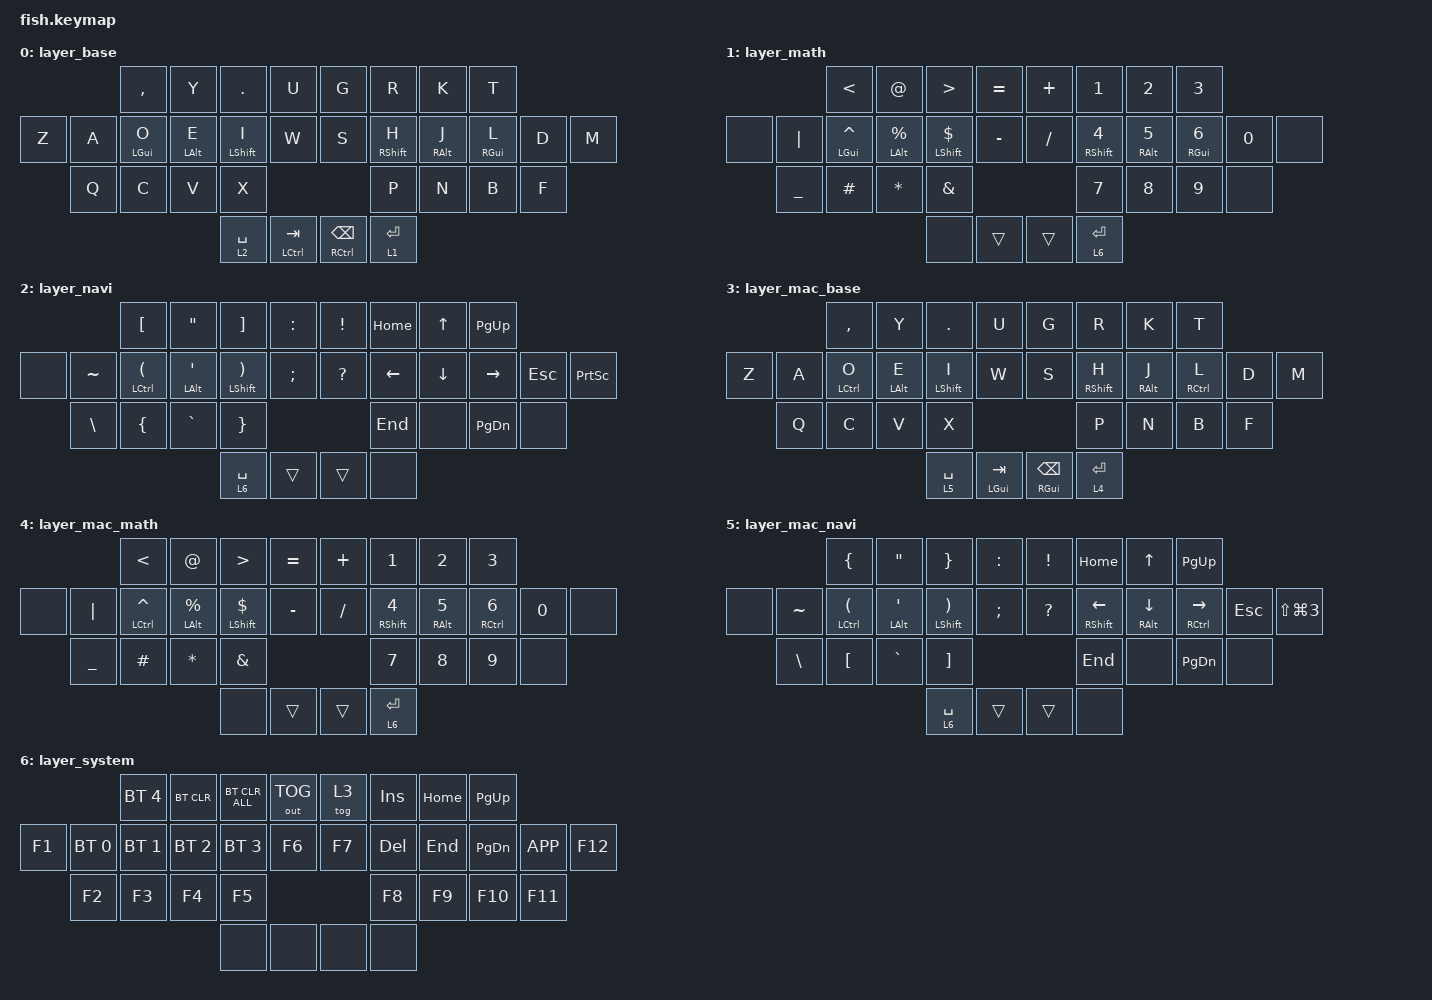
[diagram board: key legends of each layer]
// キーマップを更新する方法は https://o24.works/fish/guide を参照
// 視覚的に編集するには https://o24.works/fish/editor を参照


// 定義を呼んでくる
#include <behaviors.dtsi>
#include <dt-bindings/zmk/keys.h>
#include <dt-bindings/zmk/mouse.h>
#include <dt-bindings/zmk/bt.h>
#include <dt-bindings/zmk/outputs.h>


// 特殊入力の挙動を調整できる

&mt {
    flavor = "tap-preferred";
    tapping-term-ms = <225>;
    quick-tap-ms = <200>;
    require-prior-idle-ms = <150>;
};

&lt {
    flavor = "balanced";
    tapping-term-ms = <175>;
    quick-tap-ms = <200>;
};

&sk {
};

&sl {
};

&caps_word {
};

&key_repeat {
};


/ {
    // 独自の入力を定義できる（上級者向け）

    behaviors {
    };

    macros {
    };

    conditional_layers {
    };


    // 複数キーの同時押しに特別の入力を設定できる
    // キー番号早見表：
    //       0  1  2  3     4  5  6  7
    // 8  9 10 11 12 13    14 15 16 17 18 19
    //   20 21 22 23          24 25 26 27
    //            28 29    30 31

    combos {
        compatible = "zmk,combos";
        timeout-ms = <100>;
        require-prior-idle-ms = <150>;

        combo_lang2 {
            key-positions = <21 22>;
            bindings = <&kp LANG2>;
        };

        combo_lang1 {
            key-positions = <25 26>;
            bindings = <&kp LANG1>;
        };

        combo_reset_L {
            key-positions = <3 8 13>;
            bindings = <&bootloader>;
        };

        combo_reset_R {
            key-positions = <4 14 19>;
            bindings = <&bootloader>;
        };
    };
    

    // キーに入力を割り当てる
    // 型（&...）は https://zmk.dev/docs/behaviors/... を参照
    // キーコードは https://zmk.dev/docs/codes/... を参照

    keymap {
        compatible = "zmk,keymap";

        layer_base {
            bindings = <
                        &kp COMMA   &kp Y       &kp DOT     &kp U               &kp G       &kp R       &kp K       &kp T       
&kp Z       &kp A       &mt LGUI O  &mt LALT E  &mt LSHFT I &kp W               &kp S       &mt RSHFT H &mt RALT J  &mt RGUI L  &kp D       &kp M       
            &kp Q       &kp C       &kp V       &kp X                                       &kp P       &kp N       &kp B       &kp F       
                                                &lt 2 SPACE &mt LCTRL TAB       &mt RCTRL BSPC &lt 1 RET 
            >;
        };

        layer_math {
            bindings = <
                        &kp LT      &kp AT      &kp GT      &kp EQUAL           &kp PLUS    &kp N1      &kp N2      &kp N3      
&none       &kp PIPE    &mt LGUI CARET &mt LALT PRCNT &mt LSHFT DLLR &kp MINUS  &kp FSLH    &mt RSHFT N4 &mt RALT N5 &mt RGUI N6 &kp N0     &none       
            &kp UNDER   &kp HASH    &kp STAR    &kp AMPS                                    &kp N7      &kp N8      &kp N9      &none       
                                                &none       &trans              &trans      &lt 6 RET   
            >;
        };

        layer_navi {
            bindings = <
                        &kp LBKT    &kp DQT     &kp RBKT    &kp COLON           &kp EXCL    &kp HOME    &kp UP      &kp PG_UP   
&none       &kp TILDE   &mt LCTRL LPAR &mt LALT SQT &mt LSHFT RPAR &kp SEMI     &kp QMARK   &kp LEFT    &kp DOWN    &kp RIGHT   &kp ESC     &kp PSCRN   
            &kp BSLH    &kp LBRC    &kp GRAVE   &kp RBRC                                    &kp END     &none       &kp PG_DN   &none       
                                                &lt 6 SPACE &trans              &trans      &none       
            >;
        };

        layer_mac_base {
            bindings = <
                        &kp COMMA   &kp Y       &kp DOT     &kp U               &kp G       &kp R       &kp K       &kp T       
&kp Z       &kp A       &mt LCTRL O &mt LALT E  &mt LSHFT I &kp W               &kp S       &mt RSHFT H &mt RALT J  &mt RCTRL L &kp D       &kp M       
            &kp Q       &kp C       &kp V       &kp X                                       &kp P       &kp N       &kp B       &kp F       
                                                &lt 5 SPACE &mt LGUI TAB        &mt RGUI BSPC &lt 4 RET 
            >;
        };

        layer_mac_math {
            bindings = <
                        &kp LT      &kp AT      &kp GT      &kp EQUAL           &kp PLUS    &kp N1      &kp N2      &kp N3      
&none       &kp PIPE    &mt LCTRL CARET &mt LALT PRCNT &mt LSHFT DLLR &kp MINUS &kp FSLH    &mt RSHFT N4 &mt RALT N5 &mt RCTRL N6 &kp N0    &none       
            &kp UNDER   &kp HASH    &kp STAR    &kp AMPS                                    &kp N7      &kp N8      &kp N9      &none       
                                                &none       &trans              &trans      &lt 6 RET   
            >;
        };

        layer_mac_navi {
            bindings = <
                        &kp LBRC    &kp DQT     &kp RBRC    &kp COLON           &kp EXCL    &kp HOME    &kp UP      &kp PG_UP   
&none       &kp TILDE   &mt LCTRL LPAR &mt LALT SQT &mt LSHFT RPAR &kp SEMI     &kp QMARK   &mt RSHFT LEFT &mt RALT DOWN &mt RCTRL RIGHT &kp ESC &kp LS(LG(N3)) 
            &kp BSLH    &kp LBKT    &kp GRAVE   &kp RBKT                                    &kp END     &none       &kp PG_DN   &none       
                                                &lt 6 SPACE &trans              &trans      &none       
            >;
        };

        layer_system {
            bindings = <
                        &bt BT_SEL 4 &bt BT_CLR &bt BT_CLR_ALL &out OUT_TOG     &tog 3      &kp INS     &kp HOME    &kp PG_UP   
&kp F1      &bt BT_SEL 0 &bt BT_SEL 1 &bt BT_SEL 2 &bt BT_SEL 3 &kp F6          &kp F7      &kp DEL     &kp END     &kp PG_DN   &kp K_APP   &kp F12     
            &kp F2      &kp F3      &kp F4      &kp F5                                      &kp F8      &kp F9      &kp F10     &kp F11     
                                                &none       &none               &none       &none       
            >;
        };
    };
};
